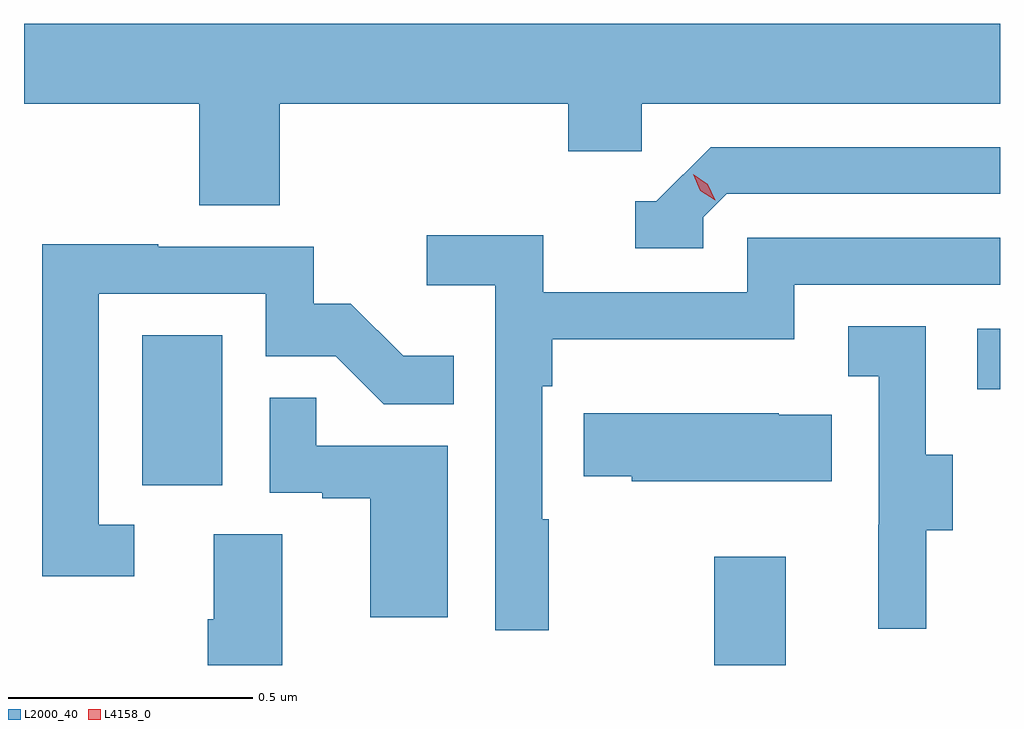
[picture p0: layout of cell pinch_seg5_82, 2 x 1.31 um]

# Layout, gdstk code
import gdstk
lib = gdstk.Library(unit=1e-6, precision=1e-09)
def R(c, l, rs):  # rectangles x0, y0, x1, y1
    for r in rs: c.add(gdstk.rectangle(r[:2], r[2:], *l))
def P(c, l, *ps):  # polygons
    for p in ps: c.add(gdstk.Polygon(p, *l))
L2000_40 = (2000, 40)
L4158_0 = (4158, 0)

pinch_seg5_82 = lib.new_cell('pinch_seg5_82')
R(pinch_seg5_82, L2000_40, [(1025.41,907.557,1025.557,907.78), (1024.238,907.926,1024.402,908.233), (1025.949,908.123,1025.996,908.247)])
P(pinch_seg5_82, L2000_40, [(1024.52,908.708),(1025.111,908.708),(1025.111,908.61),(1025.262,908.61),(1025.262,908.708),(1025.996,908.708),(1025.996,908.872),(1023.996,908.872),(1023.996,908.708),(1024.355,908.708),(1024.355,908.5),(1024.52,908.5)],
  [(1025.388,908.475),(1025.436,908.523),(1025.996,908.523),(1025.996,908.619),(1025.403,908.619),(1025.292,908.508),(1025.249,908.508),(1025.249,908.412),(1025.388,908.412)],
  [(1025.071,907.856),(1025.058,907.856),(1025.058,908.129),(1025.078,908.129),(1025.078,908.225),(1025.574,908.225),(1025.574,908.337),(1025.996,908.337),(1025.996,908.433),(1025.478,908.433),(1025.478,908.322),(1025.06,908.322),(1025.06,908.438),(1024.821,908.438),(1024.821,908.336),(1024.962,908.336),(1024.962,907.629),(1025.071,907.629)],
  [(1024.222,907.845),(1024.149,907.845),(1024.149,908.319),(1024.491,908.319),(1024.491,908.19),(1024.635,908.19),(1024.733,908.092),(1024.877,908.092),(1024.877,908.191),(1024.773,908.191),(1024.666,908.298),(1024.59,908.298),(1024.59,908.415),(1024.271,908.415),(1024.271,908.42),(1024.033,908.42),(1024.033,907.74),(1024.222,907.74)],
  [(1025.845,907.834),(1025.899,907.834),(1025.899,907.989),(1025.844,907.989),(1025.844,908.252),(1025.685,908.252),(1025.685,908.149),(1025.748,908.149),(1025.748,907.845),(1025.747,907.845),(1025.747,907.632),(1025.845,907.632)],
  [(1024.864,908.007),(1024.595,908.007),(1024.595,908.105),(1024.5,908.105),(1024.5,907.911),(1024.607,907.911),(1024.607,907.899),(1024.706,907.899),(1024.706,907.656),(1024.864,907.656)],
  [(1025.651,908.071),(1025.543,908.071),(1025.543,908.074),(1025.143,908.074),(1025.143,907.945),(1025.241,907.945),(1025.241,907.934),(1025.651,907.934)],
  [(1024.525,907.826),(1024.385,907.826),(1024.385,907.652),(1024.373,907.652),(1024.373,907.557),(1024.525,907.557)])
P(pinch_seg5_82, L4158_0, [(1025.413,908.51),(1025.382,908.53),(1025.367,908.563),(1025.367,908.563),(1025.367,908.563),(1025.397,908.543),(1025.413,908.51),(1025.413,908.51)])

lib.write_gds('pinch_seg5_82.gds')
